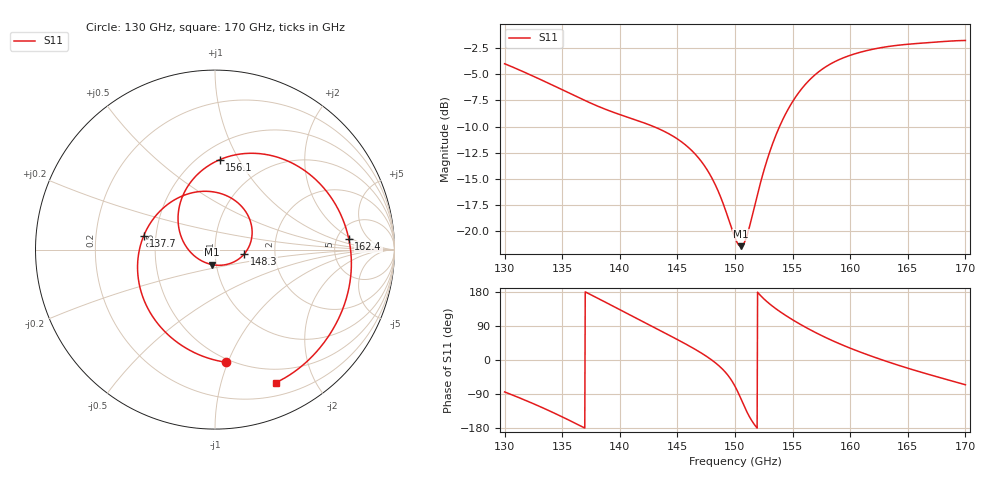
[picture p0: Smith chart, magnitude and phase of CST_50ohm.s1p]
! TOUCHSTONE file generated by CST MICROWAVE STUDIO
! Date and time: Thu Nov 19 20:15:53 2026
! Project name: ShiftNull75_Production.cst
! Parameters = {array_spacing=1.12; eps_r=3.5; feed_width=0.1688; ground_length=1.5; ground_width=2.5; inset_gap=0.02; inset_length=0.165; junction_y=-0.405; launch_length=0.5; loss_tangent=0.0027; mesh_box=54; mesh_near=36; metal_thickness=0.002; patch_length=0.5148; patch_width=0.667; port_halfwid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
! Header version: 2024
! Port assignment regex: !\s*Touchstone port\s*([0-9]+)\s*=\s*(CST MWS port|CST DES external port|CST DES block port)\s*(.+)\s* \(\"(.*)\"\)(\s*mode\s*([0-9]+))?.*
! Touchstone port assignment:
! Touchstone port 1 = CST MWS port 1 ("50ohm_microstrip")
# GHz S RI R 50
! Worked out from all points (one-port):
!   1001 points, 130 GHz to 170 GHz, reference 50 ohm
!   lowest |S11| = -21.4 dB at 150.5 GHz (marker M1), VSWR 1.19, Z = 47.5 - j7.95 ohm
!   |S11| at or under -10 dB: 143 GHz to 153.9 GHz (10.9 GHz wide, 7.35 % of centre)
!   S11 on the Smith chart (normalised r, x): 130 GHz: 0.47, -0.99; 137.7 GHz: 0.43, +0.08; 148.3 GHz: 1.39, -0.07; 156.1 GHz: 0.62, +0.83; 162.4 GHz: 6.44, +1.75; 170 GHz: 0.34, -1.51
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130  0.0638 -0.628
132.28  -0.213 -0.5148
133.68  -0.3386 -0.3861
135  -0.4112 -0.2367
136.32  -0.4311 -0.0775
137.68  -0.3978 0.0755
140  -0.2456 0.2648
142.44  -0.0246 0.3236
145  0.1628 0.2233
146.72  0.2069 0.0962
148.32  0.1641 -0.0229
150  0.0329 -0.0871
150.52  -0.0186 -0.083
151.08  -0.0742 -0.0628
152  -0.1539 0.00689
153  -0.2025 0.1258
154  -0.1915 0.2673
155  -0.1155 0.4
156.08  0.0251 0.5005
156.96  0.1644 0.5351
157.88  0.313 0.5242
160  0.5924 0.3586
161.16  0.689 0.2193
162.36  0.7454 0.0598
163.64  0.7589 -0.114
165  0.7266 -0.2887
167.68  0.5622 -0.5729
170  0.3406 -0.7406
